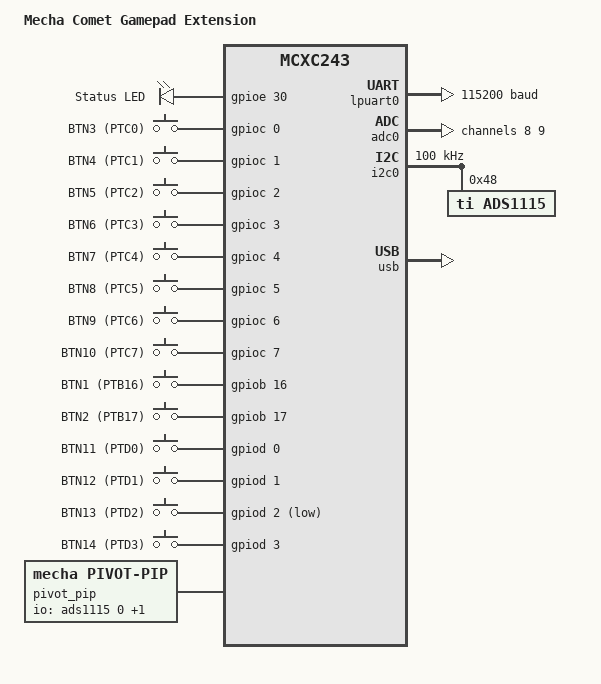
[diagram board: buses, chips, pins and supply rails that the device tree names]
/*
 * Copyright (c) 2026 Mecha Systems
 *
 * SPDX-License-Identifier: BSD-3-Clause
 */

/dts-v1/;

#include <nxp/mcx/mcxc/nxp_mcxc243.dtsi>
#include "mecha_comet_gamepad-pinctrl.dtsi"
#include <zephyr/dt-bindings/input/input-event-codes.h>

/ {
	model = "Mecha Comet Gamepad Extension";
	compatible = "mecha,comet-gamepad", "nxp,mcxc243", "nxp,mcx";

	chosen {
		zephyr,sram = &sram0;
		zephyr,flash = &flash0;
		zephyr,console = &lpuart0;
		zephyr,shell-uart = &lpuart0;
		zephyr,code-partition = &code_partition;
	};

	leds {
		compatible = "gpio-leds";

		/* LED1 through 4.7k to GND (net LED_1). */
		status_led: led-status {
			gpios = <&gpioe 30 GPIO_ACTIVE_HIGH>;
			label = "Status LED";
		};
	};

	/*
	 * One node per schematic net (btn_1 to btn_14). The key code says which
	 * control the button is: the face buttons by their position (south is the
	 * bottom one), the others by their function. The firmware turns these into
	 * gamepad buttons, so what a button does can change without touching this file.
	 *
	 * The chip has two GPIO interrupt vectors: one for port A and one shared by
	 * ports C and D. Ports B and E have none. Zephyr's chip devicetree only
	 * connects the port A and port C interrupts, so the port C buttons are
	 * interrupt driven and the ones on ports B and D are polled.
	 *
	 * Note for the next PCB revision: route all buttons to ports C and D (the
	 * port A pins are used by SWD, UART, the crystal, boot and reset) so they can
	 * all be interrupt driven. This also needs the port D interrupt to be
	 * connected in Zephyr.
	 */
	buttons_irq: buttons-irq {
		compatible = "gpio-keys";
		debounce-interval-ms = <5>;

		btn_3: button-3 {
			gpios = <&gpioc 0 GPIO_ACTIVE_HIGH>;
			zephyr,code = <INPUT_BTN_DPAD_DOWN>;
			label = "BTN3 (PTC0)";
		};

		btn_4: button-4 {
			gpios = <&gpioc 1 GPIO_ACTIVE_HIGH>;
			zephyr,code = <INPUT_BTN_DPAD_RIGHT>;
			label = "BTN4 (PTC1)";
		};

		btn_5: button-5 {
			gpios = <&gpioc 2 GPIO_ACTIVE_HIGH>;
			zephyr,code = <INPUT_BTN_NORTH>;
			label = "BTN5 (PTC2)";
		};

		btn_6: button-6 {
			gpios = <&gpioc 3 GPIO_ACTIVE_HIGH>;
			zephyr,code = <INPUT_BTN_WEST>;
			label = "BTN6 (PTC3)";
		};

		btn_7: button-7 {
			gpios = <&gpioc 4 GPIO_ACTIVE_HIGH>;
			zephyr,code = <INPUT_BTN_SOUTH>;
			label = "BTN7 (PTC4)";
		};

		btn_8: button-8 {
			gpios = <&gpioc 5 GPIO_ACTIVE_HIGH>;
			zephyr,code = <INPUT_BTN_EAST>;
			label = "BTN8 (PTC5)";
		};

		btn_9: button-9 {
			gpios = <&gpioc 6 GPIO_ACTIVE_HIGH>;
			zephyr,code = <INPUT_BTN_SELECT>;
			label = "BTN9 (PTC6)";
		};

		btn_10: button-10 {
			gpios = <&gpioc 7 GPIO_ACTIVE_HIGH>;
			zephyr,code = <INPUT_BTN_START>;
			label = "BTN10 (PTC7)";
		};
	};

	buttons_polled: buttons-polled {
		compatible = "gpio-keys";
		polling-mode;
		debounce-interval-ms = <5>;

		btn_1: button-1 {
			gpios = <&gpiob 16 GPIO_ACTIVE_HIGH>;
			zephyr,code = <INPUT_BTN_DPAD_UP>;
			label = "BTN1 (PTB16)";
		};

		btn_2: button-2 {
			gpios = <&gpiob 17 GPIO_ACTIVE_HIGH>;
			zephyr,code = <INPUT_BTN_DPAD_LEFT>;
			label = "BTN2 (PTB17)";
		};

		btn_11: button-11 {
			gpios = <&gpiod 0 GPIO_ACTIVE_HIGH>;
			zephyr,code = <INPUT_BTN_TL>;
			label = "BTN11 (PTD0)";
		};

		btn_12: button-12 {
			gpios = <&gpiod 1 GPIO_ACTIVE_HIGH>;
			zephyr,code = <INPUT_BTN_TR>;
			label = "BTN12 (PTD1)";
		};

		/* Left stick click: pulled up to 3V3 (R17), so active low. */
		btn_13: button-13 {
			gpios = <&gpiod 2 GPIO_ACTIVE_LOW>;
			zephyr,code = <INPUT_BTN_THUMBL>;
			label = "BTN13 (PTD2)";
		};

		btn_14: button-14 {
			gpios = <&gpiod 3 GPIO_ACTIVE_HIGH>;
			zephyr,code = <INPUT_BTN_MODE>;
			label = "BTN14 (PTD3)";
		};
	};

	/*
	 * Left stick: joystick U5 on ADC0 channels 8 and 9. The nodes are named after the axis they
	 * report, as in Zephyr's analog-axis binding. The stick is turned by 90 degrees on the board:
	 * channel 8 is the vertical axis (Y, reads higher when pushed up) and channel 9 is the
	 * horizontal axis (X, reads higher when pushed right).
	 *
	 * The axes must be listed in order of increasing ADC channel, because the driver reads all of
	 * them in one go and the ADC returns the samples in that order. That is why Y comes first.
	 *
	 * The in-* values are raw 12-bit counts and only starting values: calibration changes them
	 * at runtime.
	 */
	left_stick: left-stick {
		compatible = "analog-axis";
		poll-period-ms = <4>;

		axis-y {
			io-channels = <&adc0 8>;
			zephyr,axis = <INPUT_ABS_Y>;
			in-min = <586>;
			in-max = <3604>;
			in-deadzone = <75>;
			out-min = <(-32767)>;
			out-max = <32767>;
		};

		axis-x {
			io-channels = <&adc0 9>;
			zephyr,axis = <INPUT_ABS_X>;
			in-min = <701>;
			in-max = <3635>;
			in-deadzone = <60>;
			out-min = <(-32767)>;
			out-max = <32767>;
		};
	};

	/*
	 * Pivot Pip, the pointing stick (U6), read through two channels of the ADS1115: X on AIN0 and
	 * Y on AIN1. It is the right stick of the gamepad, so it reports absolute axes. The driver is
	 * in the mecha-pivot-pip module.
	 */
	pivot_pip: pivot-pip {
		compatible = "mecha,pivot-pip";
		io-channels = <&ads1115 0>, <&ads1115 1>;
		io-channel-names = "x", "y";
		full-scale = <80>;
		mode = "absolute";
		abs-codes = <INPUT_ABS_RX INPUT_ABS_RY>;
		inverted-y;
	};
};

/* Peripheral clock source selection, same as NXP's FRDM board. */
&sim {
	pllfll-select = <KINETIS_SIM_PLLFLLSEL_MCGPLLCLK>;
	er32k-select = <KINETIS_SIM_ER32KSEL_OSC32KCLK>;
};

/* The core runs from the internal 48 MHz oscillator. */
&cpu0 {
	clock-frequency = <DT_FREQ_M(48)>;
};

/* 32.768 kHz crystal (U2); the 12 pF load capacitors are on the PCB. */
&osc {
	clock-frequency = <32768>;
	mode = "low-power";
};

&gpiob {
	status = "okay";
};

&gpioc {
	status = "okay";
};

&gpiod {
	status = "okay";
};

&gpioe {
	status = "okay";
};

&lpuart0 {
	current-speed = <115200>;
	pinctrl-0 = <&lpuart0_default>;
	pinctrl-names = "default";
	status = "okay";
};

&adc0 {
	pinctrl-0 = <&adc0_default>;
	pinctrl-names = "default";
	#address-cells = <1>;
	#size-cells = <0>;
	status = "okay";

	/* The reference is VREFH/VREFL, which the PCB ties to VDDA/VSSA. */
	channel@8 {
		reg = <8>;
		zephyr,gain = "ADC_GAIN_1";
		zephyr,reference = "ADC_REF_INTERNAL";
		zephyr,acquisition-time = <ADC_ACQ_TIME_DEFAULT>;
		zephyr,resolution = <12>;

		/* Average 16 readings per sample to reduce noise. */
		zephyr,oversampling = <4>;
	};

	channel@9 {
		reg = <9>;
		zephyr,gain = "ADC_GAIN_1";
		zephyr,reference = "ADC_REF_INTERNAL";
		zephyr,acquisition-time = <ADC_ACQ_TIME_DEFAULT>;
		zephyr,resolution = <12>;

		/* Average 16 readings per sample to reduce noise. */
		zephyr,oversampling = <4>;
	};
};

&i2c0 {
	clock-frequency = <I2C_BITRATE_STANDARD>;
	pinctrl-0 = <&i2c0_default>;
	pinctrl-names = "default";
	status = "okay";

	/* Pivot Pip ADC. The address pin is tied to GND (0x48) and ALERT/RDY is not connected. */
	ads1115: adc@48 {
		compatible = "ti,ads1115";
		reg = <0x48>;
		#address-cells = <1>;
		#size-cells = <0>;
		#io-channel-cells = <1>;

		/* ADC_GAIN_1 is a full scale of 2.048 V. Single-ended inputs use 15 of the 16 bits. */

		/* X axis: AIN0 */
		channel@0 {
			reg = <0>;
			zephyr,gain = "ADC_GAIN_1";
			zephyr,reference = "ADC_REF_INTERNAL";
			zephyr,vref-mv = <2048>;
			zephyr,acquisition-time = <ADC_ACQ_TIME_DEFAULT>;
			zephyr,input-positive = <0>;
			zephyr,resolution = <15>;
		};

		/* Y axis: AIN1 */
		channel@1 {
			reg = <1>;
			zephyr,gain = "ADC_GAIN_1";
			zephyr,reference = "ADC_REF_INTERNAL";
			zephyr,vref-mv = <2048>;
			zephyr,acquisition-time = <ADC_ACQ_TIME_DEFAULT>;
			zephyr,input-positive = <1>;
			zephyr,resolution = <15>;
		};
	};
};

/* Define the memory layout for the 128 KB flash */
&flash0 {
	partitions {
		compatible = "fixed-partitions";
		#address-cells = <1>;
		#size-cells = <1>;

		code_partition: partition@0 {
			compatible = "zephyr,mapped-partition";
			label = "code";
			reg = <0x00000000 DT_SIZE_K(120)>;
		};

		storage_partition: partition@1e000 {
			compatible = "zephyr,mapped-partition";
			label = "storage";
			reg = <0x0001e000 DT_SIZE_K(8)>;
		};
	};
};

/* VREGIN is tied to 3V3 and VOUT33 is open, so the USB regulator is not used. */
zephyr_udc0: &usb {
	num-bidir-endpoints = <8>;
	no-voltage-regulator;
	status = "okay";
};
